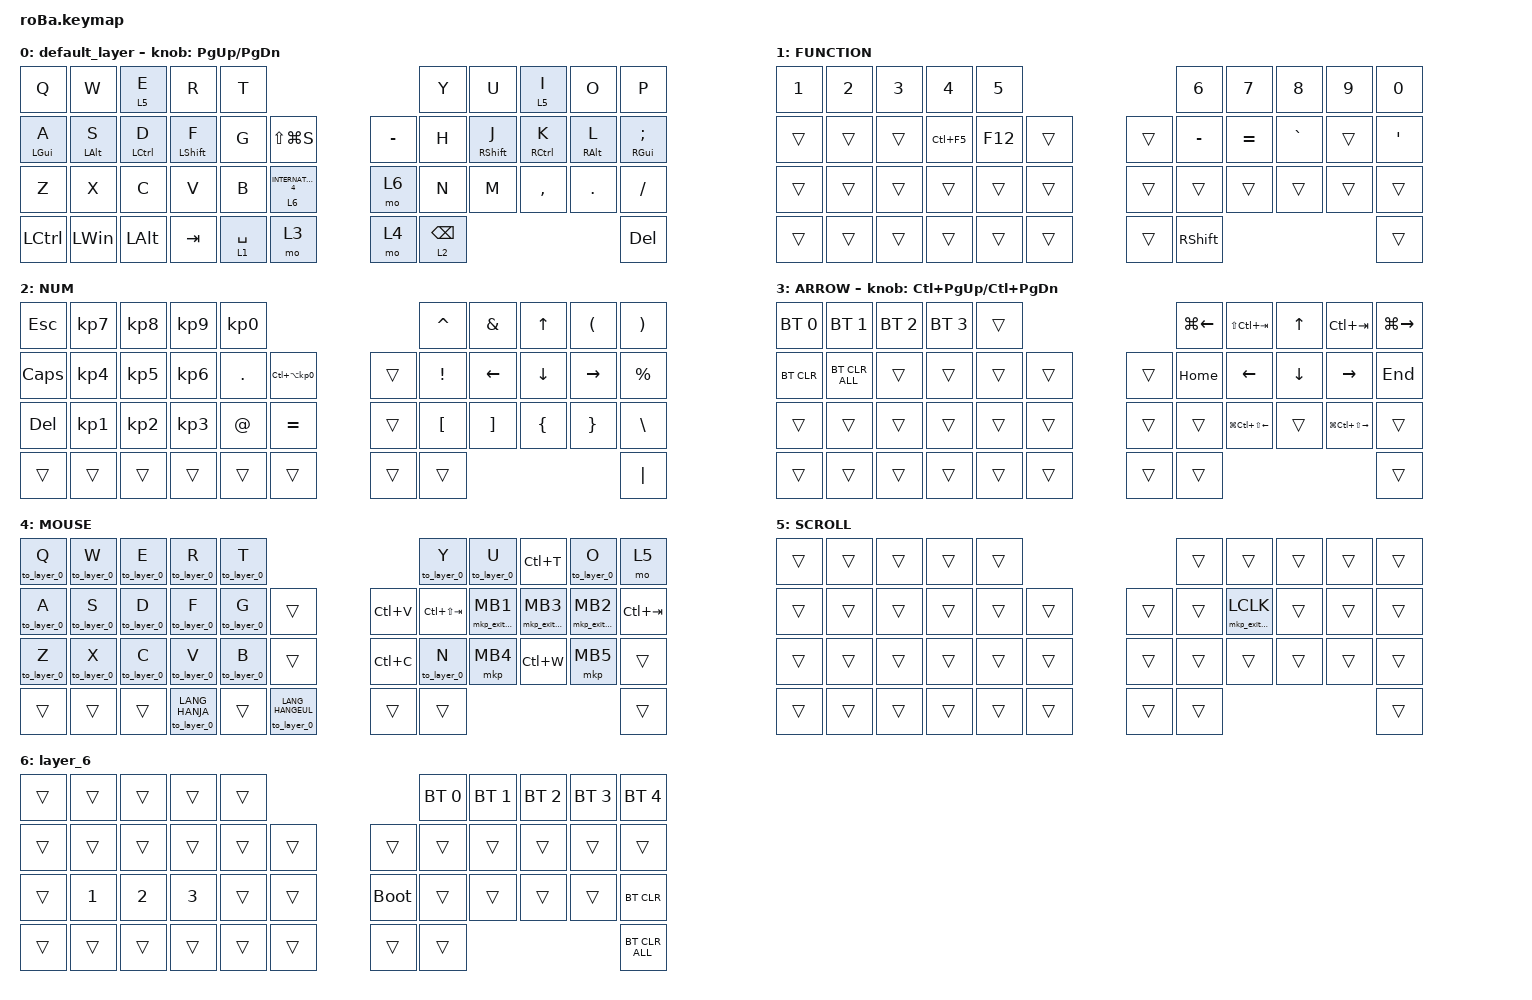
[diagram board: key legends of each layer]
#include <behaviors.dtsi>
#include <dt-bindings/zmk/bt.h>
#include <dt-bindings/zmk/keys.h>
#include <dt-bindings/zmk/pointing.h>

#define MOUSE 4
#define SCROLL 5
#define NUM 6

&mt {
    flavor = "balanced";
    quick-tap-ms = <0>;
};

/ {
    combos {
        compatible = "zmk,combos";

        combo1 {
            bindings = <&kp LEFT_BRACKET>;
            key-positions = <2 3>;
        };

        combo2 {
            bindings = <&kp RIGHT_BRACKET>;
            key-positions = <7 6>;
        };

        combo3 {
            bindings = <&kp LEFT_PARENTHESIS>;
            key-positions = <12 13>;
        };

        combo4 {
            bindings = <&kp RIGHT_PARENTHESIS>;
            key-positions = <18 19>;
        };

        combo5 {
            bindings = <&kp LEFT_BRACE>;
            key-positions = <24 25>;
        };

        combo6 {
            bindings = <&kp RIGHT_BRACE>;
            key-positions = <30 31>;
        };

        combo7 {
            bindings = <&kp BACKSLASH>;
            key-positions = <4 5>;
        };

        combo8 {
            bindings = <&kp PIPE>;
            key-positions = <14 17>;
        };

        combo9 {
            bindings = <&kp ENTER>;
            key-positions = <21 20>;
        };
    };

    macros {
        to_layer_0: to_layer_0 {
            compatible = "zmk,behavior-macro-one-param";
            #binding-cells = <1>;
            bindings = <&to 0 &macro_param_1to1 &kp MACRO_PLACEHOLDER>;
            label = "TO_LAYER_0";
        };

        mkp_exit_AML: mkp_exit_AML {
            compatible = "zmk,behavior-macro-one-param";
            #binding-cells = <1>;
            bindings =
                <&macro_press>,
                <&macro_param_1to1 &mkp MACRO_PLACEHOLDER>,
                <&macro_pause_for_release>,
                <&macro_release>,
                <&macro_param_1to1 &mkp MACRO_PLACEHOLDER>,
                <&macro_tap>,
                <&sl 4>;

            label = "MKP_EXIT_AML";
        };

        parenthesis: parenthesis {
            compatible = "zmk,behavior-macro";
            #binding-cells = <0>;
            bindings = <&kp LANG_HANJA &kp LEFT_PARENTHESIS &kp RIGHT_PARENTHESIS &kp LEFT_ARROW>;
            label = "parenthesis";
        };
    };

    behaviors {
        lt_to_layer_0: lt_to_layer_0 {
            compatible = "zmk,behavior-hold-tap";
            label = "LAYER_TAP_TO_0";
            bindings = <&mo>, <&to_layer_0>;

            #binding-cells = <2>;
            tapping-term-ms = <200>;
        };

        hmr: hmr {
            compatible = "zmk,behavior-hold-tap";
            label = "HMR";
            bindings = <&kp>, <&kp>;

            #binding-cells = <2>;
            tapping-term-ms = <300>;
            quick-tap-ms = <180>;
            flavor = "tap-preferred";
        };

        ltq: ltq {
            compatible = "zmk,behavior-hold-tap";
            label = "LTQ";
            bindings = <&mo>, <&kp>;

            #binding-cells = <2>;
            tapping-term-ms = <200>;
            quick-tap-ms = <180>;
        };

        ltb: ltb {
            compatible = "zmk,behavior-hold-tap";
            label = "LTB";
            bindings = <&mo>, <&kp>;

            #binding-cells = <2>;
            flavor = "tap-preferred";
            tapping-term-ms = <150>;
            quick-tap-ms = <200>;
            hold-while-undecided;
        };
    };

    keymap {
        compatible = "zmk,keymap";

        default_layer {
            bindings = <
&kp Q            &kp W            &ltb 5 E      &kp R              &kp T                                                         &kp Y             &kp U          &lt 5 I       &kp O             &kp P
&hmr LEFT_GUI A  &hmr LEFT_ALT S  &hmr LCTRL D  &hmr LEFT_SHIFT F  &kp G        &kp LS(LG(S))                         &kp MINUS  &kp H             &hmr RSHIFT J  &hmr RCTRL K  &hmr RIGHT_ALT L  &hmr RIGHT_GUI SEMI
&kp Z            &kp X            &kp C         &kp V              &kp B        &lt_to_layer_0 6 INTERNATIONAL_4      &mo 6      &kp N             &kp M          &kp COMMA     &kp DOT           &kp SLASH
&kp LCTRL        &kp LEFT_WIN     &kp LEFT_ALT  &kp TAB            &lt 1 SPACE  &mo 3                                 &mo 4      &ltq 2 BACKSPACE                                                 &kp DEL
            >;

            sensor-bindings = <&inc_dec_kp PG_UP PAGE_DOWN>;
        };

        FUNCTION {
            bindings = <
&kp NUMBER_1  &kp NUMBER_2  &kp NUMBER_3  &kp NUMBER_4  &kp N5                       &kp NUMBER_6     &kp NUMBER_7  &kp NUMBER_8  &kp NUMBER_9  &kp NUMBER_0
&trans        &trans        &trans        &kp LC(F5)    &kp F12  &trans      &trans  &kp MINUS        &kp EQUAL     &kp GRAVE     &trans        &kp SQT
&trans        &trans        &trans        &trans        &trans   &trans      &trans  &trans           &trans        &trans        &trans        &trans
&trans        &trans        &trans        &trans        &trans   &trans      &trans  &kp RIGHT_SHIFT                                            &trans
            >;
        };

        NUM {
            bindings = <
&kp ESC   &kp KP_NUMBER_7  &kp KP_NUMBER_8  &kp KP_NUMBER_9  &kp KP_N0                                         &kp CARET         &kp AMPERSAND      &kp UP_ARROW    &kp LEFT_PARENTHESIS  &kp RIGHT_PARENTHESIS
&kp CAPS  &kp KP_NUMBER_4  &kp KP_NUMBER_5  &kp KP_NUMBER_6  &kp DOT      &kp LC(LA(KP_NUMBER_0))      &trans  &kp EXCLAMATION   &kp LEFT_ARROW     &kp DOWN        &kp RIGHT             &kp PERCENT
&kp DEL   &kp KP_NUMBER_1  &kp KP_NUMBER_2  &kp KP_NUMBER_3  &kp AT_SIGN  &kp EQUAL                    &trans  &kp LEFT_BRACKET  &kp RIGHT_BRACKET  &kp LEFT_BRACE  &kp RIGHT_BRACE       &kp BACKSLASH
&trans    &trans           &trans           &trans           &trans       &trans                       &trans  &trans                                                                     &kp PIPE
            >;
        };

        ARROW {
            bindings = <
&bt BT_SEL 0  &bt BT_SEL 1    &bt BT_SEL 2  &bt BT_SEL 3  &trans                      &kp LG(LEFT)  &kp LS(LC(TAB))       &kp UP_ARROW  &kp LC(TAB)            &kp LG(RIGHT)
&bt BT_CLR    &bt BT_CLR_ALL  &trans        &trans        &trans  &trans      &trans  &kp HOME      &kp LEFT              &kp DOWN      &kp RIGHT              &kp END
&trans        &trans          &trans        &trans        &trans  &trans      &trans  &trans        &kp LG(LC(LS(LEFT)))  &trans        &kp LG(LC(LS(RIGHT)))  &trans
&trans        &trans          &trans        &trans        &trans  &trans      &trans  &trans                                                                   &trans
            >;

            sensor-bindings = <&inc_dec_kp LC(PAGE_UP) LC(PAGE_DOWN)>;
        };

        MOUSE {
            bindings = <
&to_layer_0 Q  &to_layer_0 W  &to_layer_0 E  &to_layer_0 R           &to_layer_0 T                                           &to_layer_0 Y    &to_layer_0 U      &kp LC(T)          &to_layer_0 O      &mo 5
&to_layer_0 A  &to_layer_0 S  &to_layer_0 D  &to_layer_0 F           &to_layer_0 G  &trans                        &kp LC(V)  &kp LC(LS(TAB))  &mkp_exit_AML MB1  &mkp_exit_AML MB3  &mkp_exit_AML MB2  &kp LC(TAB)
&to_layer_0 Z  &to_layer_0 X  &to_layer_0 C  &to_layer_0 V           &to_layer_0 B  &trans                        &kp LC(C)  &to_layer_0 N    &mkp MB4           &kp LC(W)          &mkp MB5           &trans
&trans         &trans         &trans         &to_layer_0 LANG_HANJA  &trans         &to_layer_0 LANG_HANGEUL      &trans     &trans                                                                    &trans
            >;
        };

        SCROLL {
            bindings = <
&trans  &trans  &trans  &trans  &trans                      &trans  &trans              &trans  &trans  &trans
&trans  &trans  &trans  &trans  &trans  &trans      &trans  &trans  &mkp_exit_AML LCLK  &trans  &trans  &trans
&trans  &trans  &trans  &trans  &trans  &trans      &trans  &trans  &trans              &trans  &trans  &trans
&trans  &trans  &trans  &trans  &trans  &trans      &trans  &trans                                      &trans
            >;
        };

        layer_6 {
            bindings = <
&trans  &trans        &trans        &trans        &trans                           &bt BT_SEL 0  &bt BT_SEL 1  &bt BT_SEL 2  &bt BT_SEL 3  &bt BT_SEL 4
&trans  &trans        &trans        &trans        &trans  &trans      &trans       &trans        &trans        &trans        &trans        &trans
&trans  &kp NUMBER_1  &kp NUMBER_2  &kp NUMBER_3  &trans  &trans      &bootloader  &trans        &trans        &trans        &trans        &bt BT_CLR
&trans  &trans        &trans        &trans        &trans  &trans      &trans       &trans                                                  &bt BT_CLR_ALL
            >;
        };
    };
};
